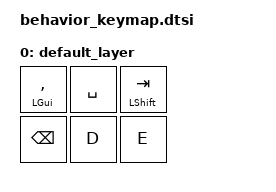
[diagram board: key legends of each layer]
#include <dt-bindings/zmk/keys.h>
#include <behaviors.dtsi>
#include <dt-bindings/zmk/kscan_mock.h>

&mt { hold-while-undecided; };

/ {
    behaviors {
        ht_bkp: behavior_hold_tap_balanced_key_positions {
            compatible = "zmk,behavior-hold-tap";
            #binding-cells = <2>;
            flavor = "hold-preferred";
            tapping-term-ms = <200>;
            bindings = <&kp>, <&kp>;
            hold-while-undecided;
            balanced-key-positions = <1 2 3>;
        };
    };

    keymap {
        compatible = "zmk,keymap";

        // positions 1, 2 and 3 are in balanced-key-positions, 4 and 5 are not
        default_layer {
            bindings = <
                &ht_bkp LEFT_GUI COMMA  &kp SPACE  &mt LEFT_SHIFT TAB
                &kp BACKSPACE           &kp D      &kp E>;
        };
    };
};

&kscan {
    rows = <2>;
    columns = <3>;
};
